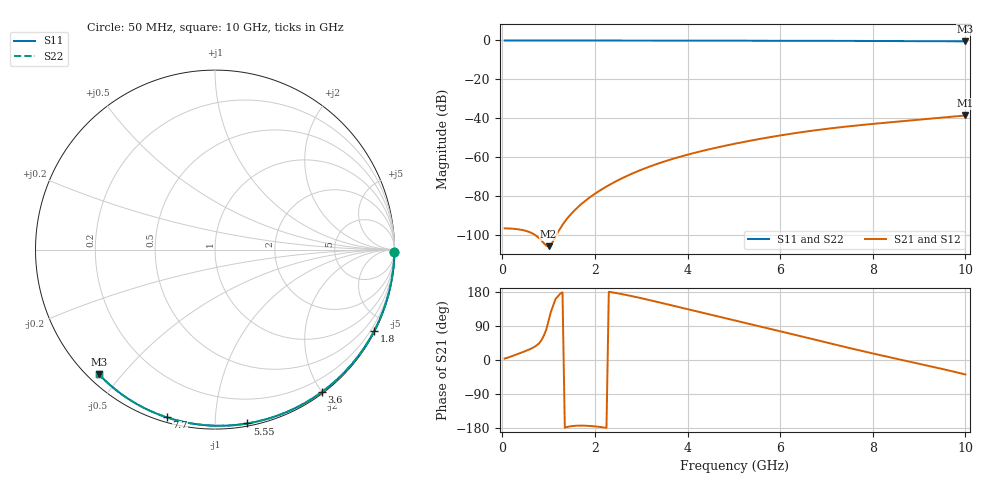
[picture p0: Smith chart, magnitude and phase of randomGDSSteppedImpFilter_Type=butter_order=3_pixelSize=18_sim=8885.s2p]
! freq	dB(S11)	phase(S11)	dB(S12)	phase(S12)
!  dB(S21)	phase(S21)	dB(S22)	phase(S22)
!S-par simulation data
#  GHz  S  DB  R 50
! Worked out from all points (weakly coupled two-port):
!   200 points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, 50 MHz to 10 GHz, reference 50 ohm
!   highest |S21| = -38.52 dB at 10 GHz (marker M1); lowest = -105.6 dB at 1 GHz (marker M2)
!   lowest |S11| = -0.5 dB at 10 GHz (marker M3), VSWR 38.55, Z = 1.54 - j21.8 ohm
!   |S11| at or under -10 dB: nowhere
!   |S22| runs from -0.5 to 0.0 dB; largest |S21 - S12| = 0
!   S11 on the Smith chart (normalised r, x): 50 MHz: open; 1.8 GHz: 0.04, -4.13; 3.6 GHz: 0.02, -2.00; 5.55 GHz: 0.02, -1.20; 7.7 GHz: 0.02, -0.75; 10 GHz: 0.03, -0.44
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0.05  -0.00 -0.8  -96.45 3.8  -96.45 3.8  -0.00 -0.8
0.5  -0.01 -7.7  -97.67 23.6  -97.67 23.6  -0.01 -7.7
1  -0.02 -15.2  -105.59 104.4  -105.59 104.4  -0.02 -15.2
1.75  -0.03 -26.4  -83.13 -173.2  -83.13 -173.2  -0.03 -26.5
1.8  -0.03 -27.2  -82.17 -173.4  -82.17 -173.4  -0.03 -27.2
1.9  -0.04 -28.7  -80.37 -174.1  -80.37 -174.1  -0.04 -28.7
1.95  -0.04 -29.4  -79.52 -174.6  -79.52 -174.6  -0.04 -29.4
2.25  -0.04 -33.8  -74.97 -179.1  -74.97 -179.1  -0.04 -33.8
2.45  -0.05 -36.7  -72.36 176.9  -72.36 176.9  -0.05 -36.8
2.65  -0.05 -39.6  -70.00 172.3  -70.00 172.3  -0.05 -39.7
3  -0.06 -44.7  -66.39 163.1  -66.39 163.1  -0.06 -44.7
3.4  -0.07 -50.4  -62.90 151.7  -62.90 151.7  -0.07 -50.4
3.6  -0.07 -53.2  -61.37 145.9  -61.37 145.9  -0.07 -53.2
4.25  -0.09 -62.1  -57.10 126.8  -57.10 126.8  -0.09 -62.2
5.05  -0.11 -72.9  -52.87 103.6  -52.87 103.6  -0.11 -72.9
5.55  -0.13 -79.4  -50.59 89.2  -50.59 89.2  -0.13 -79.4
6.1  -0.15 -86.4  -48.38 73.0  -48.38 73.0  -0.15 -86.5
6.7  -0.18 -93.9  -46.29 55.1  -46.29 55.1  -0.18 -94.0
7.7  -0.24 -106.1  -43.53 25.7  -43.53 25.7  -0.24 -106.1
8.35  -0.29 -113.8  -42.06 7.6  -42.06 7.6  -0.29 -113.8
9.15  -0.36 -123.1  -40.36 -14.0  -40.36 -14.0  -0.36 -123.1
10  -0.45 -132.9  -38.52 -38.2  -38.52 -38.2  -0.45 -133.0
